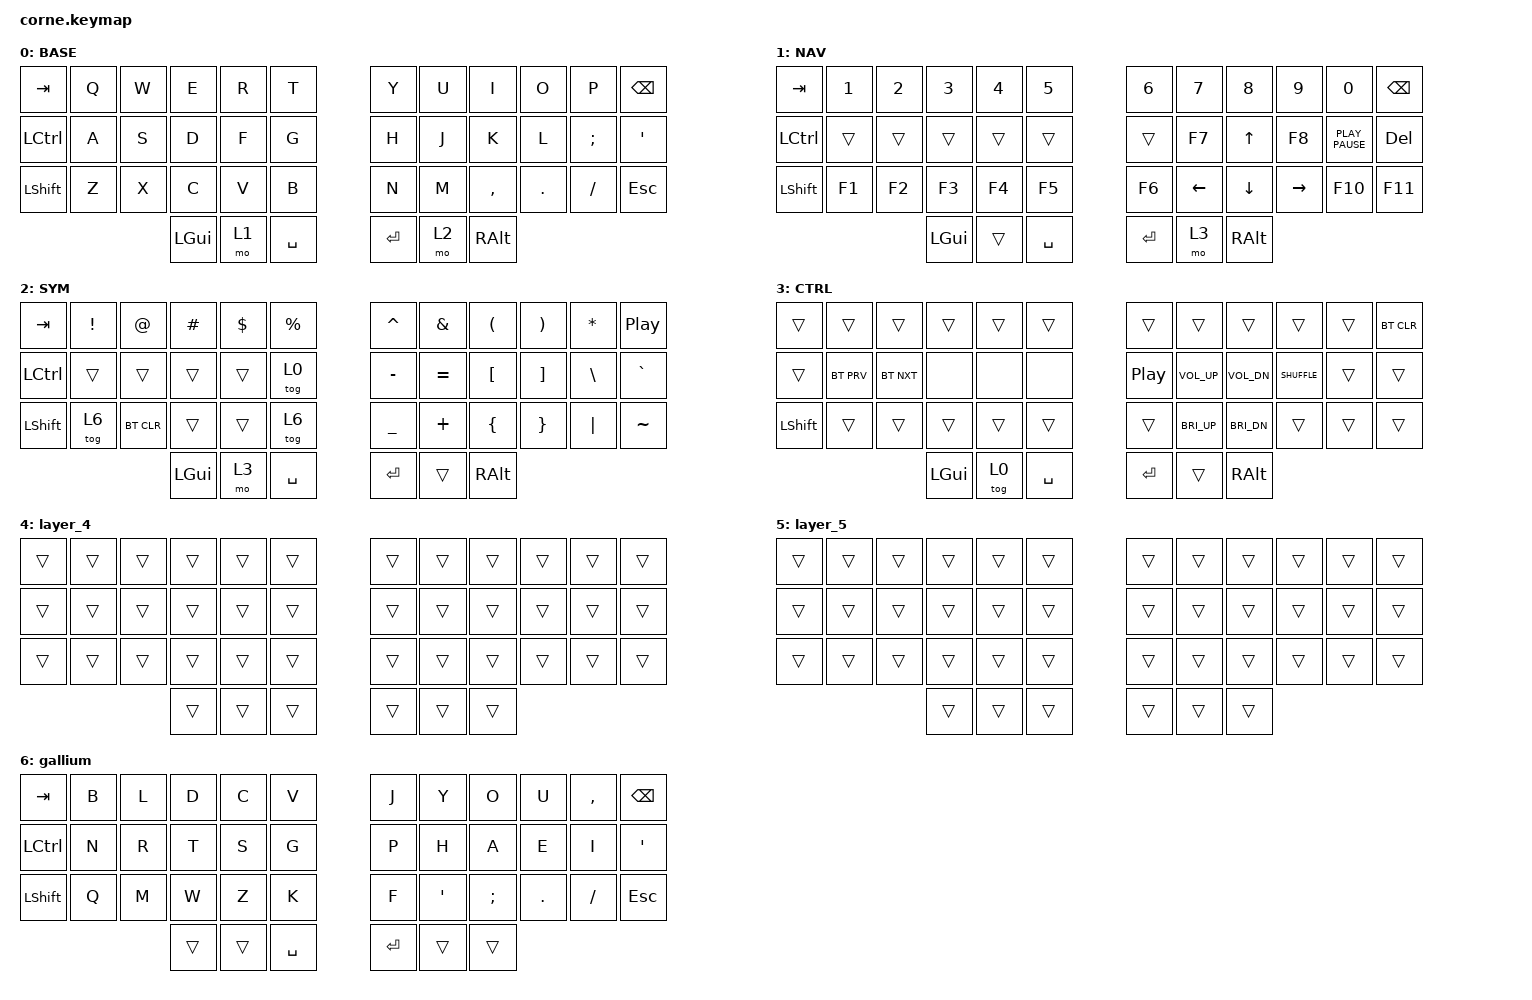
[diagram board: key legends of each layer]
/*
 * Copyright (c) 2020 The ZMK Contributors
 *
 * SPDX-License-Identifier: MIT
 */
// Keymap Author: Vespertine1122 [https://github.com/Vespertine112]

#include <behaviors.dtsi>
#include <dt-bindings/zmk/bt.h>
#include <dt-bindings/zmk/keys.h>

/*
 * define the layer schema
 */

#define BASE 0
#define NAV 1
#define SYM 2
#define CTRL 3
#define GAME 4

/*
 * Keymap & macros
 */

/ {
    behaviors {
        ht_hp: positional_hold_tap {
            compatible = "zmk,behavior-hold-tap";
            label = "POSITIONAL_HOLD_TAP";
            label = "HOLD_TAP_HOLD_PRESS";
            #binding-cells = <2>;
            tapping_term_ms = <700>;
            quick_tap_ms = <0>;
            flavor = "tap-preferred";
            bindings = <&kp>, <&kp>;
        };
    };

    combos { compatible = "zmk,combos"; };

    keymap {
        compatible = "zmk,keymap";

        default_layer {
            // -----------------------------------------------------------------------------------------
            // |  TAB |  Q  |  W  |  E  |  R  |  T  |   |  Y  |  U   |  I  |  O  |  P  | BKSP |
            // | CTRL |  A  |  S  |  D  |  F  |  G  |   |  H  |  J   |  K  |  L  |  ;  |  '   |
            // | SHFT |  Z  |  X  |  C  |  V  |  B  |   |  N  |  M   |  ,  |  .  |  /  | ESC  |
            //                    | GUI | LWR | SPC |   | ENT | RSE  | ALT |

            label = "BASE";
            bindings = <
&kp TAB    &kp Q  &kp W  &kp E     &kp R  &kp T        &kp Y       &kp U  &kp I      &kp O    &kp P     &kp BSPC
&kp LCTRL  &kp A  &kp S  &kp D     &kp F  &kp G        &kp H       &kp J  &kp K      &kp L    &kp SEMI  &kp SQT
&kp LSHFT  &kp Z  &kp X  &kp C     &kp V  &kp B        &kp N       &kp M  &kp COMMA  &kp DOT  &kp FSLH  &kp ESC
                         &kp LGUI  &mo 1  &kp SPACE    &kp RETURN  &mo 2  &kp RALT
            >;
        };

        nav_layer {
            // -----------------------------------------------------------------------------------------
            // |  TAB | 1 F1| 2 F2| 3 F3| 4 F4| 5 F5|   | 6 F6| 7 F7| 8 F8| 9 F9| 0 F0| BKSP |
            // | CTRL |     |     |     |     |  F4 |   |     | LEFT| UP  | DWN |RIGHT|  DEL |
            // | SHFT |     |     |     |     |     |   |     |     |     |     |     |      |
            //                    | GUI |     | SPC |   | ENT | CTRL| ALT |

            label = "NAV";
            bindings = <
&kp TAB    &kp N1  &kp N2  &kp N3    &kp N4  &kp N5     &kp N6   &kp N7    &kp N8    &kp N9     &kp N0            &kp BACKSPACE
&kp LCTRL  &trans  &trans  &trans    &trans  &trans     &trans   &kp F7    &kp UP    &kp F8     &kp K_PLAY_PAUSE  &kp DEL
&kp LSHFT  &kp F1  &kp F2  &kp F3    &kp F4  &kp F5     &kp F6   &kp LEFT  &kp DOWN  &kp RIGHT  &kp F10           &kp F11
                           &kp LGUI  &trans  &kp SPC    &kp RET  &mo 3     &kp RALT
            >;
        };

        sym_layer {
            // -----------------------------------------------------------------------------------------
            // |  TAB |  !  |  @  |  #  |  $  |  %  |   |  ^  |  &  |  *  |  (  |  )  | BKSP |
            // | CTRL |     |     |     |     |     |   |  -  |  =  |  [  |  ]  |  \  |  `   |
            // | SHFT |     |     |     |     |     |   |  _  |  +  |  {  |  }  | "|" |  ~   |
            //                    | GUI |     | SPC |   | ENT |     | ALT |

            label = "SYM";
            bindings = <
&kp TAB    &kp EXCL  &kp AT      &kp HASH  &kp DLLR  &kp PRCNT    &kp CARET  &kp AMPS   &kp LPAR  &kp RPAR  &kp ASTRK  &kp C_PLAY_PAUSE
&kp LCTRL  &trans    &trans      &trans    &trans    &tog 0       &kp MINUS  &kp EQUAL  &kp LBKT  &kp RBKT  &kp BSLH   &kp GRAVE
&kp LSHFT  &tog 6    &bt BT_CLR  &trans    &trans    &tog 6       &kp UNDER  &kp PLUS   &kp LBRC  &kp RBRC  &kp PIPE   &kp TILDE
                                 &kp LGUI  &mo 3     &kp SPACE    &kp RET    &trans     &kp RALT
            >;
        };

        ctrl_layer {
            // -----------------------------------------------------------------------------------------
            // | PWR  |     |     |     |     | SLP |   |     | NXT | PRV |     |     |      |
            // |BT_CLR| BTB | BTN | mvLT| mvRT|     |   |  PP |VOLU |VOLD |     |     |      |
            // | SHFT |     |     |     |     |     |   |     |BRIU |BRID |     |     |      |
            //                    | GUI |     | SPC |   | ENT |     | ALT |

            label = "CTRL";
            bindings = <
&trans     &trans      &trans      &trans    &trans  &trans       &trans    &trans        &trans        &trans         &trans  &bt BT_CLR
&trans     &bt BT_PRV  &bt BT_NXT  &none     &none   &none        &kp C_PP  &kp C_VOL_UP  &kp C_VOL_DN  &kp C_SHUFFLE  &trans  &trans
&kp LSHFT  &trans      &trans      &trans    &trans  &trans       &trans    &kp C_BRI_UP  &kp C_BRI_DN  &trans         &trans  &trans
                                   &kp LGUI  &tog 0  &kp SPACE    &kp RET   &trans        &kp RALT
            >;
        };

        layer_4 {
            bindings = <
&trans  &trans  &trans  &trans  &trans  &trans    &trans  &trans  &trans  &trans  &trans  &trans
&trans  &trans  &trans  &trans  &trans  &trans    &trans  &trans  &trans  &trans  &trans  &trans
&trans  &trans  &trans  &trans  &trans  &trans    &trans  &trans  &trans  &trans  &trans  &trans
                        &trans  &trans  &trans    &trans  &trans  &trans
            >;
        };

        layer_5 {
            bindings = <
&trans  &trans  &trans  &trans  &trans  &trans    &trans  &trans  &trans  &trans  &trans  &trans
&trans  &trans  &trans  &trans  &trans  &trans    &trans  &trans  &trans  &trans  &trans  &trans
&trans  &trans  &trans  &trans  &trans  &trans    &trans  &trans  &trans  &trans  &trans  &trans
                        &trans  &trans  &trans    &trans  &trans  &trans
            >;
        };

        gallium {
            bindings = <
&kp TAB    &kp B  &kp L  &kp D   &kp C   &kp V        &kp J    &kp Y    &kp O     &kp U    &kp COMMA  &kp BSPC
&kp LCTRL  &kp N  &kp R  &kp T   &kp S   &kp G        &kp P    &kp H    &kp A     &kp E    &kp I      &kp SQT
&kp LSHFT  &kp Q  &kp M  &kp W   &kp Z   &kp K        &kp F    &kp SQT  &kp SEMI  &kp DOT  &kp FSLH   &kp ESC
                         &trans  &trans  &kp SPACE    &kp RET  &trans   &trans
            >;
        };
    };
};
